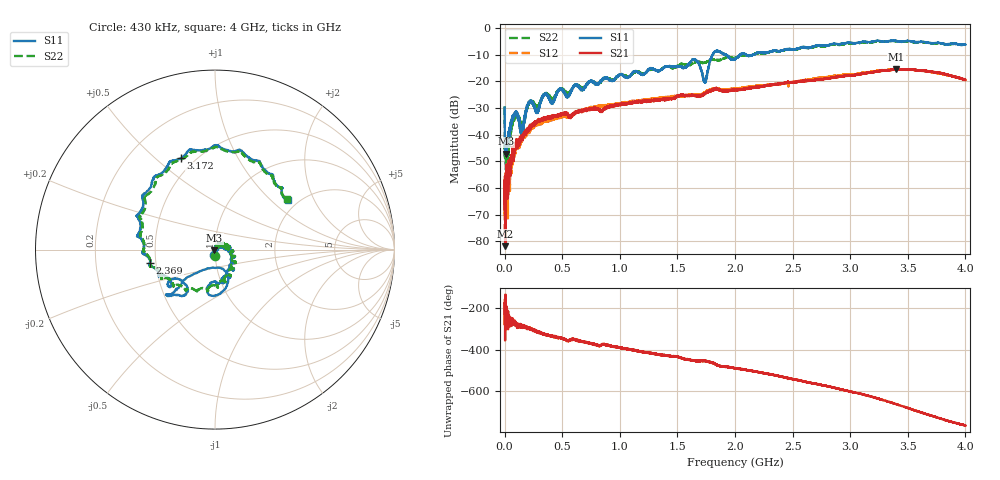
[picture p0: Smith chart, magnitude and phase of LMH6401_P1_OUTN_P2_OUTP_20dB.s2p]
!Keysight Technologies N9917A: A.08.18
!Date: Saturday, 27 May 2023 17:09:30
!Timezone: (GMT-07:00) Mountain Time (US & Canada)
!Model: N9917A
!Serial: MY52401314
!GPS Latitude:
!GPS Longitude:
!GPS TimeStamp: 0001-01-01 00:00:00Z
!GPS Seconds Since Last Read: 0
!CHECKSUM:0616187190
!Correction: S11(ON U)S21(ON U)S12(ON U)S22(ON U)
!S2P File: Measurements:S11,S21,S12,S22:
# Hz S DB R 50
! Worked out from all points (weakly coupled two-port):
!   10000 points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, 430 kHz to 4 GHz, reference 50 ohm
!   highest |S21| = -15.44 dB at 3.4 GHz (marker M1); lowest = -81.8 dB at 6.83 MHz (marker M2)
!   lowest |S11| = -47.1 dB at 12.83 MHz (marker M3), VSWR 1.01, Z = 49.7 - j0.32 ohm
!   |S11| at or under -10 dB: start of sweep to 1.806 GHz; 1.922 GHz to 2.045 GHz (123.3 MHz wide, 6.22 % of centre); 2.095 GHz to 2.158 GHz (63.09 MHz wide, 2.97 % of centre)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
!   |S22| runs from -53.1 to -4.8 dB; largest |S21 - S12| = 0.016
!   S11 on the Smith chart (normalised r, x): 430 kHz: 0.99, -0.06; 2.369 GHz: 0.46, -0.08; 3.172 GHz: 0.42, +0.61; 4 GHz: 1.77, +1.29
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429997  -29.78 -101.0  -57.24 -175.1  -76.80 33.9  -29.55 -92.6
6829949  -42.67 -153.2  -81.79 83.5  -65.68 54.5  -47.82 -109.7
1.28299e7  -47.08 -133.3  -62.75 97.2  -67.84 84.1  -48.51 -131.1
2.402982e7  -41.34 -88.5  -60.89 130.3  -54.52 120.3  -46.92 -61.9
8.802934e7  -32.21 53.6  -46.38 83.9  -45.47 96.0  -32.97 54.8
1.524289e8  -41.26 63.0  -40.48 67.4  -41.17 71.3  -37.21 54.6
2.140284e8  -27.79 44.3  -37.39 62.3  -38.66 63.4  -28.25 46.7
2.820279e8  -31.42 42.9  -34.84 46.6  -35.36 46.0  -29.74 46.9
3.488274e8  -25.12 31.5  -33.98 33.0  -34.63 35.0  -24.68 33.7
4.144269e8  -28.09 23.1  -33.25 22.0  -34.15 30.5  -26.67 28.7
6.67225e8  -22.65 9.1  -31.13 1.8  -31.05 5.8  -22.50 6.9
1.33362e9  -16.17 -67.7  -26.76 -64.1  -26.26 -61.3  -16.01 -66.8
1.647218e9  -11.80 -91.7  -25.43 -94.4  -24.81 -91.4  -12.91 -99.7
1.737617e9  -20.07 -87.1  -24.71 -95.0  -24.15 -93.6  -12.99 -106.8
1.829216e9  -8.78 -135.4  -23.01 -108.4  -22.86 -108.9  -12.03 -114.0
2.000415e9  -11.69 -140.7  -23.09 -130.0  -22.84 -129.3  -11.07 -133.7
2.368812e9  -8.63 -168.6  -21.07 -167.6  -21.03 -168.8  -8.76 -167.8
2.66681e9  -7.07 160.5  -19.67 157.3  -19.23 158.2  -7.32 160.1
3.171606e9  -5.28 110.6  -16.73 93.6  -16.49 90.5  -5.42 110.2
3.333605e9  -4.92 92.6  -15.82 67.6  -15.73 63.3  -5.05 92.5
3.400404e9  -4.86 87.2  -15.44 55.2  -15.58 50.9  -4.99 86.8
4e9  -6.18 34.3  -19.46 -47.5  -19.31 -50.3  -6.11 35.0
